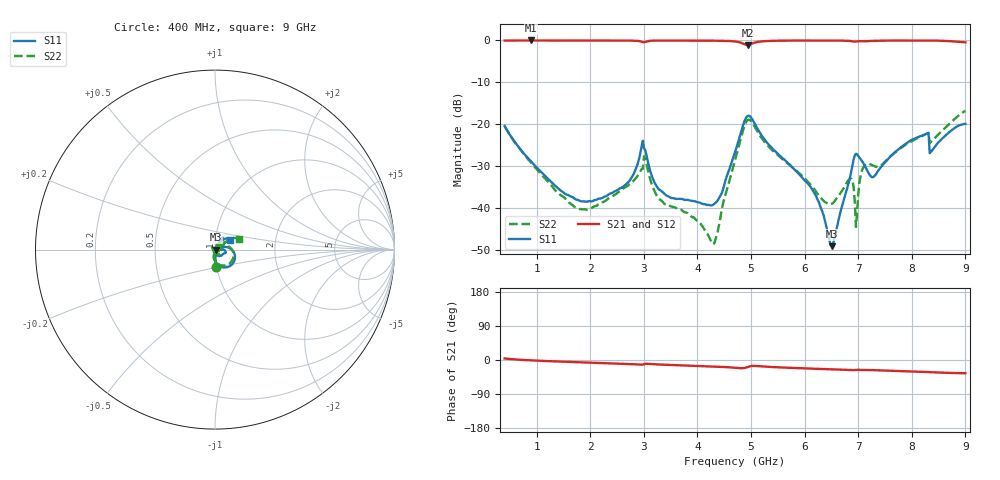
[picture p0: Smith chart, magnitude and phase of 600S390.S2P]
!  American Technical Ceramics  Date:  4/26/2005
!  One Norden Lane
!  Huntington Station,  NY.  11746-2102
!  Tel:  (631) 622-4700  Fax:  (631) 622-4748
!  Part Number  600S390  Mounting Orientation: Horizontal
!  Description: Ultra Low ESR Microwave capacitors
!  Application: Coupling, Bypass, Tuning, DC Block
!  Filters, Matching
# GHZ S DB R 50
! Freq  |S11|  S11 Ph  |S21|  S21 Ph  |S12|  S12 Ph  |S22|  S22 Ph
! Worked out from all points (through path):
!   401 points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, 400 MHz to 9 GHz, reference 50 ohm
!   highest |S21| = -0.01 dB at 895 MHz (marker M1); lowest = -1.1 dB at 4.937 GHz (marker M2)
!   group delay of S21, straight-line fit = 11.2 ps
!   lowest |S11| = -49.1 dB at 6.506 GHz (marker M3), VSWR 1.01, Z = 50.3 - j0.0762 ohm
!   |S11| at or under -10 dB: start of sweep to end of sweep
!   |S22| runs from -48.6 to -16.8 dB; largest |S21 - S12| = 0.0017
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0.4  -20.44 -85.3  -0.04 4.2  -0.05 4.1  -20.44 -85.5
0.895  -28.91 -86.8  -0.01 -1.0  -0.01 -1.1  -29.17 -93.6
1.841  -38.45 -48.8  -0.02 -6.2  -0.02 -6.2  -40.32 -152.9
2.658  -34.44 -8.5  -0.03 -10.2  -0.03 -10.2  -35.04 147.0
2.98  -23.94 -15.3  -0.41 -11.8  -0.40 -11.8  -30.66 33.5
3.045  -27.24 -56.7  -0.27 -10.0  -0.26 -10.1  -29.26 -48.4
3.281  -35.57 -76.7  -0.04 -11.9  -0.03 -11.9  -37.79 -102.5
3.969  -38.46 -56.6  -0.03 -15.5  -0.03 -15.5  -42.78 -137.3
4.292  -39.21 -22.7  -0.07 -17.3  -0.07 -17.3  -48.61 153.1
4.442  -36.73 4.8  -0.10 -18.2  -0.10 -18.2  -41.13 86.5
4.7  -26.70 17.9  -0.25 -20.5  -0.25 -20.5  -28.63 40.8
4.937  -18.02 -32.1  -1.07 -18.4  -1.08 -18.4  -19.00 -26.1
6.141  -35.57 -88.4  -0.02 -22.9  -0.02 -22.9  -34.92 -93.5
6.506  -49.11 -12.5  -0.03 -24.6  -0.04 -24.6  -38.98 -40.1
6.85  -32.51 69.2  -0.13 -26.6  -0.13 -26.7  -32.99 -15.1
6.958  -27.06 42.9  -0.27 -26.1  -0.27 -26.1  -44.52 -13.5
7.108  -29.58 17.6  -0.18 -26.4  -0.18 -26.4  -30.05 25.9
7.28  -32.62 37.7  -0.11 -26.7  -0.11 -26.7  -29.91 13.1
7.581  -27.95 59.7  -0.04 -28.2  -0.04 -28.2  -27.90 32.2
8.269  -22.32 57.3  -0.03 -31.7  -0.03 -31.7  -22.31 38.0
8.377  -26.26 53.1  -0.02 -32.2  -0.02 -32.2  -23.93 34.2
9  -19.92 31.2  -0.46 -34.9  -0.46 -34.9  -16.77 23.9
